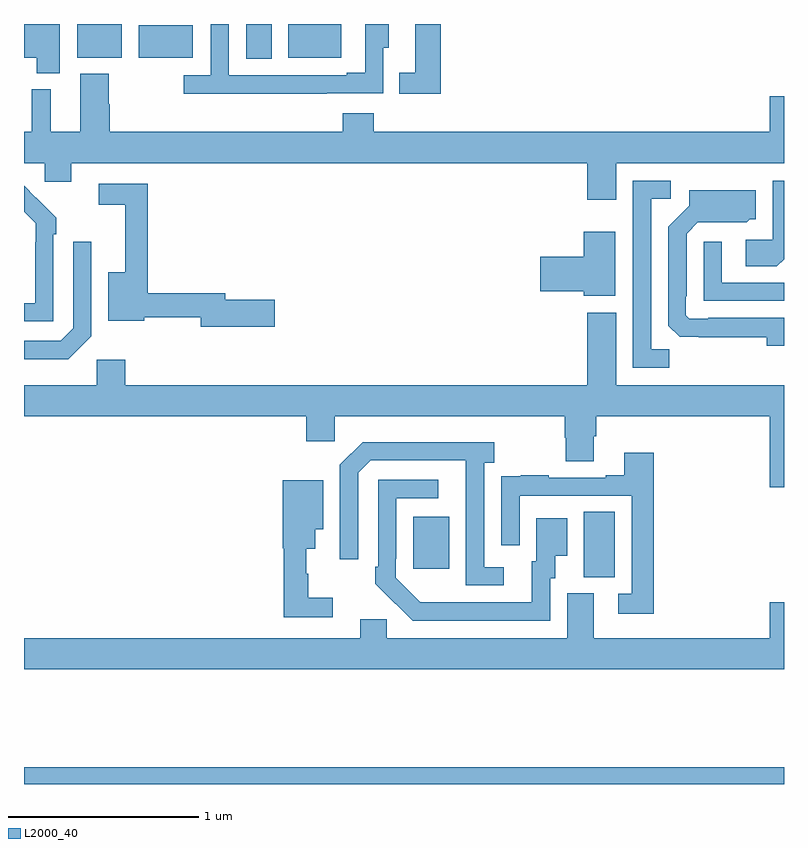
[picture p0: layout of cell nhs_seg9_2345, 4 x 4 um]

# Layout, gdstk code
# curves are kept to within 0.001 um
import gdstk
lib = gdstk.Library(unit=1e-6, precision=1e-09)
def R(c, l, rs):  # rectangles x0, y0, x1, y1
    for r in rs: c.add(gdstk.rectangle(r[:2], r[2:], *l))
def P(c, l, *ps):  # polygons
    for p in ps: c.add(gdstk.Polygon(p, *l))
L2000_40 = (2000, 40)

nhs_seg9_2345 = lib.new_cell('nhs_seg9_2345')
R(nhs_seg9_2345, L2000_40, [(245,1178.5,249,1178.588), (247.946,1179.589,248.11,1179.932), (247.049,1179.633,247.237,1179.907), (246.17,1182.316,246.304,1182.5), (245.279,1182.323,245.515,1182.5), (245.603,1182.323,245.887,1182.493), (246.392,1182.323,246.67,1182.5)])
P(nhs_seg9_2345, L2000_40, [(246.593,1182.135),(246.891,1182.135),(246.891,1182.375),(246.919,1182.375),(246.919,1182.5),(246.795,1182.5),(246.795,1182.244),(246.698,1182.244),(246.698,1182.231),(246.078,1182.231),(246.078,1182.5),(245.982,1182.5),(245.982,1182.231),(245.841,1182.231),(245.841,1182.134),(246.593,1182.134)],
  [(245.188,1182.5),(245,1182.5),(245,1182.323),(245.066,1182.323),(245.066,1182.242),(245.188,1182.242)],
  [(247.193,1182.5),(247.058,1182.5),(247.058,1182.244),(246.976,1182.244),(246.976,1182.134),(247.193,1182.134)],
  [(248.116,1181.768),(249,1181.768),(249,1182.121),(248.924,1182.121),(248.924,1181.932),(246.842,1181.932),(246.842,1182.031),(246.677,1182.031),(246.677,1181.932),(245.45,1181.932),(245.45,1182.077),(245.445,1182.077),(245.445,1182.238),(245.297,1182.238),(245.297,1181.932),(245.14,1181.932),(245.14,1182.157),(245.042,1182.157),(245.042,1181.932),(245,1181.932),(245,1181.768),(245.109,1181.768),(245.109,1181.67),(245.248,1181.67),(245.248,1181.768),(247.964,1181.768),(247.964,1181.574),(248.116,1181.574)],
  [(249,1181.261),(249,1181.676),(248.94,1181.676),(248.94,1181.364),(248.799,1181.364),(248.799,1181.224),(248.963,1181.224)],
  [(248.397,1180.787),(248.301,1180.787),(248.301,1181.58),(248.404,1181.58),(248.404,1181.676),(248.205,1181.676),(248.205,1180.692),(248.397,1180.692)],
  [(246.319,1181.048),(246.058,1181.048),(246.058,1181.084),(245.651,1181.084),(245.651,1181.658),(245.394,1181.658),(245.394,1181.55),(245.534,1181.55),(245.534,1181.194),(245.444,1181.194),(245.444,1180.937),(245.632,1180.937),(245.632,1180.956),(245.93,1180.956),(245.93,1180.906),(246.319,1180.906)],
  [(245.154,1181.393),(245.169,1181.393),(245.169,1181.481),(245,1181.648),(245,1181.512),(245.061,1181.451),(245.061,1181.351),(245.058,1181.351),(245.058,1181.031),(245,1181.031),(245,1180.935),(245.154,1180.935)],
  [(249,1180.953),(248.602,1180.953),(248.602,1180.95),(248.502,1180.95),(248.484,1180.968),(248.484,1181.068),(248.487,1181.068),(248.487,1181.397),(248.547,1181.457),(248.804,1181.456),(248.82,1181.472),(248.851,1181.472),(248.851,1181.626),(248.501,1181.626),(248.501,1181.544),(248.391,1181.434),(248.391,1180.912),(248.45,1180.853),(248.908,1180.852),(248.908,1180.806),(249,1180.806)],
  [(248.113,1181.407),(247.946,1181.407),(247.946,1181.276),(247.716,1181.276),(247.716,1181.093),(247.946,1181.093),(247.946,1181.069),(248.113,1181.069)],
  [(249,1181.139),(248.673,1181.139),(248.673,1181.353),(248.577,1181.353),(248.577,1181.043),(249,1181.043)],
  [(245.355,1180.857),(245.355,1181.353),(245.259,1181.353),(245.259,1180.899),(245.193,1180.833),(245,1180.833),(245,1180.736),(245.234,1180.736)],
  [(249,1180.6),(248.116,1180.6),(248.116,1180.981),(247.964,1180.981),(247.964,1180.6),(245.534,1180.6),(245.534,1180.732),(245.382,1180.732),(245.382,1180.6),(245,1180.6),(245,1180.436),(246.485,1180.436),(246.485,1180.305),(246.636,1180.305),(246.636,1180.436),(247.847,1180.436),(247.847,1180.323),(247.852,1180.323),(247.852,1180.198),(247.999,1180.198),(247.999,1180.33),(248.012,1180.33),(248.012,1180.436),(248.924,1180.436),(248.924,1180.062),(249,1180.062)],
  [(247.525,1179.642),(247.422,1179.642),(247.422,1180.19),(247.474,1180.19),(247.474,1180.3),(246.784,1180.3),(246.663,1180.179),(246.663,1179.684),(246.759,1179.684),(246.759,1180.137),(246.825,1180.203),(247.325,1180.203),(247.326,1179.546),(247.525,1179.546)],
  [(248.315,1180.243),(248.159,1180.243),(248.159,1180.126),(248.063,1180.126),(248.063,1180.113),(247.763,1180.113),(247.763,1180.126),(247.615,1180.126),(247.615,1180.119),(247.513,1180.119),(247.513,1180.01),(247.512,1180.01),(247.512,1179.756),(247.608,1179.756),(247.608,1180.017),(248.199,1180.017),(248.199,1179.501),(248.127,1179.501),(248.127,1179.396),(248.315,1179.396)],
  [(247.77,1179.582),(247.795,1179.582),(247.795,1179.701),(247.858,1179.701),(247.858,1179.898),(247.697,1179.898),(247.697,1179.672),(247.673,1179.672),(247.673,1179.456),(247.086,1179.457),(246.957,1179.585),(246.957,1179.685),(246.96,1179.685),(246.96,1180.005),(247.18,1180.005),(247.18,1180.101),(246.864,1180.101),(246.864,1179.643),(246.849,1179.643),(246.849,1179.555),(247.046,1179.36),(247.77,1179.36)],
  [(246.625,1179.479),(246.496,1179.479),(246.496,1179.606),(246.485,1179.606),(246.485,1179.737),(246.532,1179.737),(246.532,1179.842),(246.574,1179.842),(246.574,1180.099),(246.362,1180.099),(246.362,1179.741),(246.367,1179.741),(246.367,1179.378),(246.625,1179.378)],
  [(249,1179.457),(248.924,1179.457),(248.924,1179.268),(247.999,1179.268),(247.999,1179.504),(247.859,1179.504),(247.859,1179.268),(246.909,1179.268),(246.909,1179.366),(246.77,1179.366),(246.77,1179.268),(245,1179.268),(245,1179.104),(249,1179.104)])

lib.write_gds('nhs_seg9_2345.gds')
